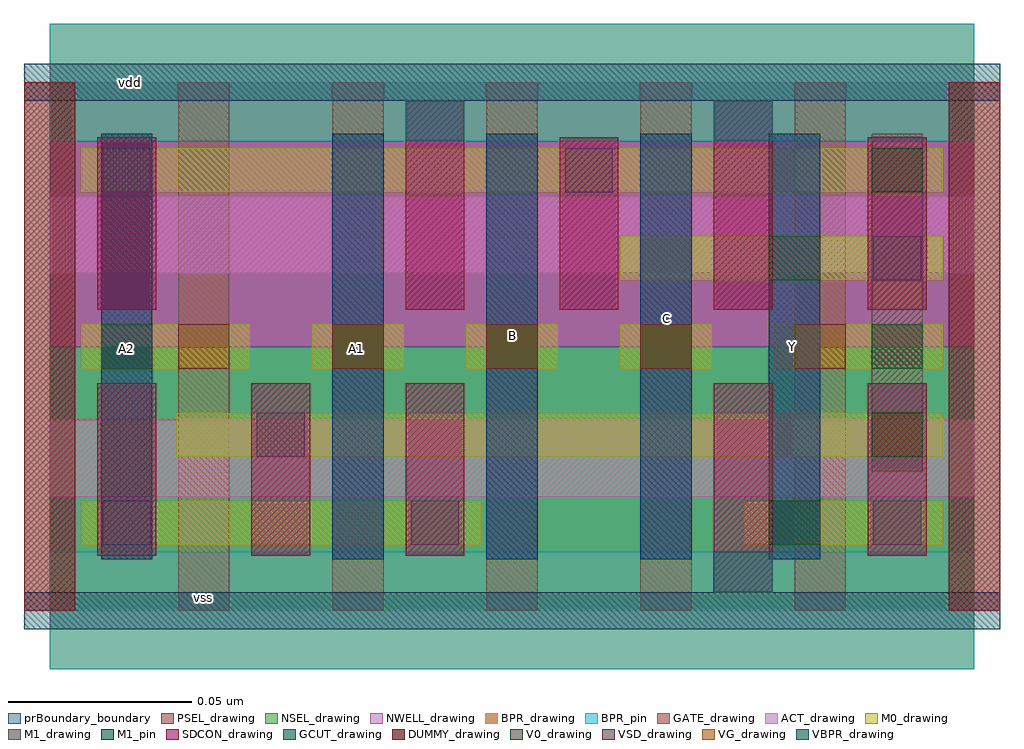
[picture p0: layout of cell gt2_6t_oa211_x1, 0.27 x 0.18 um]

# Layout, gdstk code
import gdstk
lib = gdstk.Library(unit=1e-6, precision=5e-10)
def R(c, l, rs):  # rectangles x0, y0, x1, y1
    for r in rs: c.add(gdstk.rectangle(r[:2], r[2:], *l))
def A(c, l, x, y, w, h, nx, ny, dx, dy):  # array of equal rectangles
    R(c, l, [(x+i*dx, y+j*dy, x+i*dx+w, y+j*dy+h) for i in range(nx) for j in range(ny)])
NWELL_drawing = (1, 0)
ACT_drawing = (2, 0)
GATE_drawing = (3, 0)
DUMMY_drawing = (4, 0)
GCUT_drawing = (5, 0)
NSEL_drawing = (6, 0)
PSEL_drawing = (7, 0)
BPR_drawing = (8, 0)
BPR_pin = (8, 251)
VBPR_drawing = (9, 0)
SDCON_drawing = (10, 0)
VSD_drawing = (11, 0)
VG_drawing = (12, 0)
M0_drawing = (20, 0)
V0_drawing = (22, 0)
M1_drawing = (25, 0)
M1_pin = (25, 251)
prBoundary_boundary = (235, 250)

gt2_6t_oa211_x1 = lib.new_cell('gt2_6t_oa211_x1')
R(gt2_6t_oa211_x1, NWELL_drawing, [(0,0.072,0.252,0.144)])
R(gt2_6t_oa211_x1, ACT_drawing, [(0,0.031,0.252,0.052), (0,0.092,0.252,0.113)])
A(gt2_6t_oa211_x1, GATE_drawing, -0.007, 0, 0.014, 0.144, 7, 1, 0.042, 0)
R(gt2_6t_oa211_x1, DUMMY_drawing, [(-0.007,0,0.007,0.144), (0.245,0,0.259,0.144)])
R(gt2_6t_oa211_x1, GCUT_drawing, [(-0.007,-0.005,0.259,0.005), (-0.007,0.139,0.259,0.149)])
R(gt2_6t_oa211_x1, NSEL_drawing, [(0,0,0.252,0.072)])
R(gt2_6t_oa211_x1, PSEL_drawing, [(0,0.072,0.252,0.144)])
R(gt2_6t_oa211_x1, BPR_drawing, [(0,-0.016,0.252,0.016), (0,0.128,0.252,0.16)])
R(gt2_6t_oa211_x1, BPR_pin, [(0,-0.016,0.252,0.016), (0,0.128,0.252,0.16)])
R(gt2_6t_oa211_x1, VBPR_drawing, [(0.181,0.005,0.197,0.016), (0.097,0.128,0.113,0.139), (0.181,0.128,0.197,0.139)])
A(gt2_6t_oa211_x1, SDCON_drawing, 0.013, 0.015, 0.016, 0.047, 3, 1, 0.042, 0)
R(gt2_6t_oa211_x1, SDCON_drawing, [(0.181,0.005,0.197,0.062), (0.223,0.015,0.239,0.062), (0.013,0.082,0.029,0.129), (0.097,0.082,0.113,0.139), (0.139,0.082,0.155,0.129), (0.181,0.082,0.197,0.139), (0.223,0.082,0.239,0.129)])
R(gt2_6t_oa211_x1, VSD_drawing, [(0.0145,0.018,0.0275,0.03), (0.0985,0.018,0.1115,0.03), (0.2245,0.018,0.2375,0.03), (0.0565,0.042,0.0695,0.054), (0.2245,0.09,0.2375,0.102), (0.0145,0.114,0.0275,0.126), (0.1405,0.114,0.1535,0.126)])
A(gt2_6t_oa211_x1, VG_drawing, 0.035, 0.066, 0.014, 0.012, 5, 1, 0.042, 0)
A(gt2_6t_oa211_x1, M0_drawing, 0.0715, 0.066, 0.025, 0.012, 3, 1, 0.042, 0)
R(gt2_6t_oa211_x1, M0_drawing, [(0.0085,0.018,0.1175,0.03), (0.189,0.018,0.2435,0.03), (0.0345,0.042,0.2435,0.054), (0.0085,0.066,0.0545,0.078), (0.1975,0.066,0.2435,0.078), (0.1555,0.09,0.2435,0.102), (0.0085,0.114,0.2435,0.126)])
A(gt2_6t_oa211_x1, V0_drawing, 0.077, 0.066, 0.014, 0.012, 3, 1, 0.042, 0)
R(gt2_6t_oa211_x1, V0_drawing, [(0.196,0.018,0.21,0.03), (0.224,0.042,0.238,0.054), (0.014,0.066,0.028,0.078), (0.224,0.066,0.238,0.078), (0.196,0.09,0.21,0.102), (0.224,0.114,0.238,0.126)])
A(gt2_6t_oa211_x1, M1_drawing, 0.077, 0.014, 0.014, 0.116, 3, 1, 0.042, 0)
R(gt2_6t_oa211_x1, M1_drawing, [(0.014,0.014,0.028,0.13), (0.196,0.014,0.21,0.13), (0.224,0.038,0.238,0.13)])
A(gt2_6t_oa211_x1, M1_pin, 0.077, 0.014, 0.014, 0.116, 3, 1, 0.042, 0)
R(gt2_6t_oa211_x1, M1_pin, [(0.014,0.014,0.028,0.13), (0.196,0.014,0.21,0.13)])
R(gt2_6t_oa211_x1, prBoundary_boundary, [(0,0,0.252,0.144)])
gt2_6t_oa211_x1.add(gdstk.Label('vss', (0.042,0.0035), layer=8, texttype=251))
gt2_6t_oa211_x1.add(gdstk.Label('vdd', (0.022,0.144), layer=8, texttype=251))
gt2_6t_oa211_x1.add(gdstk.Label('C', (0.168,0.0795), layer=25, texttype=251))
gt2_6t_oa211_x1.add(gdstk.Label('Y', (0.2025,0.072), layer=25, texttype=251))
gt2_6t_oa211_x1.add(gdstk.Label('B', (0.126,0.075), layer=25, texttype=251))
gt2_6t_oa211_x1.add(gdstk.Label('A1', (0.0835,0.0715), layer=25, texttype=251))
gt2_6t_oa211_x1.add(gdstk.Label('A2', (0.021,0.0715), layer=25, texttype=251))

lib.write_gds('gt2_6t_oa211_x1.gds')
